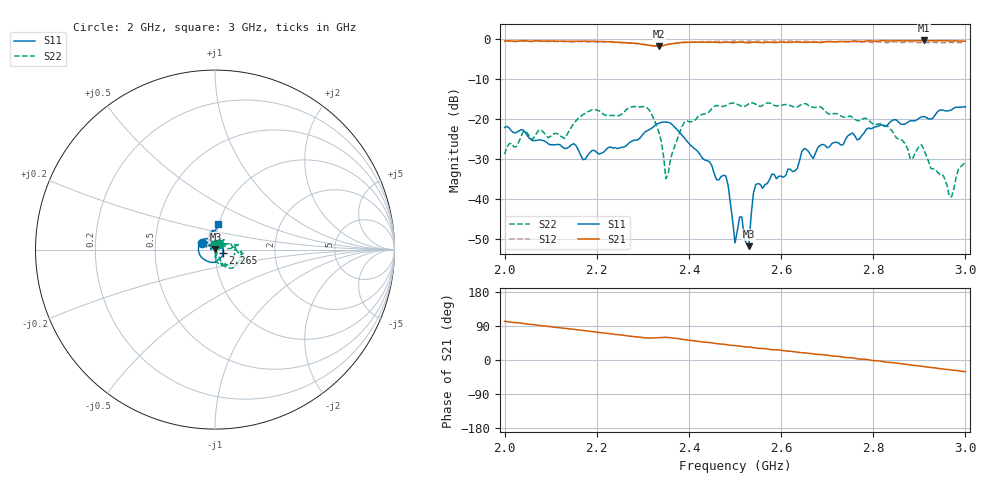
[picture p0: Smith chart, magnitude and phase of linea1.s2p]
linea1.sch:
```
<Qucs Schematic 0.0.15>
<Properties>
  <View=-64,120,800,800,1,0,0>
  <Grid=10,10,1>
  <DataSet=linea1.dat>
  <DataDisplay=linea1.dpl>
  <OpenDisplay=1>
  <showFrame=0>
  <FrameText0=Title>
  <FrameText1=Drawn By:>
  <FrameText2=Date:>
  <FrameText3=Revision:>
</Properties>
<Symbol>
</Symbol>
<Components>
  <Eqn EqnTC1 1 370 560 -23 12 0 0 "A=twoport(S,'S','A')" 1 "ZL=real(sqrt(A[1,2]/A[2,1]))" 1 "yes" 0>
  <TLIN Line1 1 310 400 -26 20 0 0 "324.63 Ohm" 1 "28.48mm" 1 "0 dB" 0 "26.85" 0>
  <GND * 1 50 490 0 0 0 0>
  <Pac P1 1 50 430 -74 -26 1 1 "1" 1 "50 Ohm" 1 "0 dBm" 0 "1 GHz" 0 "26.85" 0>
  <R R2 1 190 470 15 -26 1 3 "649.26 Ohm" 1 "26.85" 0 "0.0" 0 "0.0" 0 "26.85" 0 "US" 0>
  <GND * 1 190 500 0 0 0 0>
  <GND * 1 400 520 0 0 0 0>
  <Pac P2 1 400 480 18 -26 0 1 "2" 1 "50 Ohm" 1 "0 dBm" 0 "1 GHz" 0 "26.85" 0>
  <R R1 1 370 400 -26 -59 0 2 "649.26 Ohm" 1 "26.85" 0 "0.0" 0 "0.0" 0 "26.85" 0 "US" 0>
  <.SP SPTC1 1 560 340 0 69 0 0 "lin" 1 "2 GHz" 1 "3 GHz" 1 "51" 1 "no" 0 "1" 0 "2" 0 "no" 0 "no" 0>
  <TLIN Line2 1 110 400 -26 20 0 0 "1000Ohm" 1 "50.6 mm" 1 "0 dB" 0 "26.85" 0>
</Components>
<Wires>
  <50 460 50 490 "" 0 0 0 "">
  <190 400 190 440 "" 0 0 0 "">
  <190 400 190 400 "" 0 0 0 "">
  <190 400 280 400 "" 0 0 0 "">
  <140 400 190 400 "" 0 0 0 "">
  <50 400 80 400 "" 0 0 0 "">
  <400 510 400 520 "" 0 0 0 "">
  <400 400 400 450 "" 0 0 0 "">
</Wires>
<Diagrams>
</Diagrams>
<Paintings>
</Paintings>
```
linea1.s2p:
# Hz S DB R 50
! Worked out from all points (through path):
!   201 points, 2 GHz to 3 GHz, reference 50 ohm
!   highest |S21| = -0.26 dB at 2.91 GHz (marker M1); lowest = -1.7 dB at 2.335 GHz (marker M2)
!   group delay of S21, straight-line fit = 357 ps
!   lowest |S11| = -51.7 dB at 2.53 GHz (marker M3), VSWR 1.01, Z = 50.2 + j0.118 ohm
!   |S11| at or under -10 dB: start of sweep to end of sweep
!   |S22| runs from -39.3 to -15.8 dB; largest |S21 - S12| = 0.068
!   S11 on the Smith chart (normalised r, x): 2 GHz: 0.86, +0.06; 2.265 GHz: 1.09, -0.04; 3 GHz: 0.99, +0.29
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2e9  -22.00 154.5  -0.42 102.0  -0.40 101.0  -28.72 55.2
2.265e9  -26.50 -22.9  -0.83 63.9  -0.91 64.1  -17.44 -28.8
2.335e9  -20.94 -161.8  -1.67 58.9  -1.62 60.1  -23.28 -82.9
2.35e9  -20.70 164.1  -1.37 59.8  -1.39 60.3  -34.80 -47.7
2.48e9  -34.12 41.9  -0.68 40.8  -0.51 40.8  -16.56 -8.0
2.5e9  -50.89 38.4  -0.79 38.0  -0.42 37.8  -15.97 -8.1
2.53e9  -51.69 26.8  -0.84 34.2  -0.42 33.3  -16.07 -17.2
2.545e9  -36.27 95.6  -0.68 31.6  -0.46 31.1  -16.22 -16.1
2.65e9  -27.30 137.4  -0.73 18.9  -0.47 16.3  -16.07 -35.4
2.91e9  -19.26 97.0  -0.26 -17.5  -0.76 -18.4  -27.57 -76.9
3e9  -16.84 83.3  -0.42 -30.9  -0.76 -29.8  -30.67 98.7
